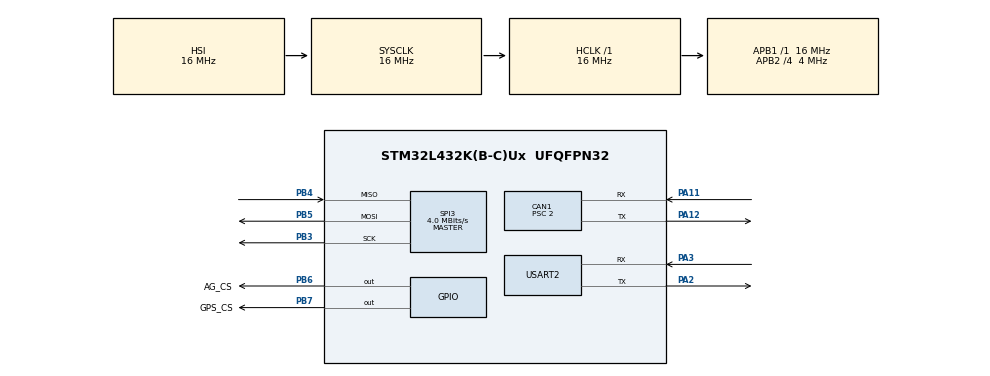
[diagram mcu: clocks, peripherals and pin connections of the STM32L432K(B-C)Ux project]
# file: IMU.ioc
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CAN1.BS1=CAN_BS1_13TQ
CAN1.BS2=CAN_BS2_2TQ
CAN1.CalculateBaudRate=500000
CAN1.CalculateTimeBit=2000
CAN1.CalculateTimeQuantum=125.0
CAN1.Prescaler=2
CAN1.SJW=CAN_SJW_1TQ
Mcu.Family=STM32L4
Mcu.Name=STM32L432K(B-C)Ux
Mcu.Package=UFQFPN32
NVIC.PriorityGroup=NVIC_PRIORITYGROUP_4
NVIC.SPI3_IRQn=true\:0\:0\:false\:false\:true\:true\:true\:true
PA11.GPIO_PuPd=GPIO_PULLUP
PA11.Mode=CAN_Activate
PA11.Signal=CAN1_RX
PA12.Mode=CAN_Activate
PA12.Signal=CAN1_TX
PA2.Mode=Asynchronous
PA2.Signal=USART2_TX
PA3.Mode=Asynchronous
PA3.Signal=USART2_RX
PB3\ (JTDO-TRACESWO).Mode=Full_Duplex_Master
PB3\ (JTDO-TRACESWO).Signal=SPI3_SCK
PB4\ (NJTRST).Mode=Full_Duplex_Master
PB4\ (NJTRST).Signal=SPI3_MISO
PB5.Mode=Full_Duplex_Master
PB5.Signal=SPI3_MOSI
PB6.GPIO_Label=AG_CS
PB6.GPIO_PuPd=GPIO_PULLUP
PB6.GPIO_Speed=GPIO_SPEED_FREQ_VERY_HIGH
PB6.PinState=GPIO_PIN_SET
PB6.Signal=GPIO_Output
PB7.GPIO_Label=GPS_CS
PB7.PinState=GPIO_PIN_SET
PB7.Signal=GPIO_Output
ProjectManager.HeapSize=0x200
ProjectManager.StackSize=0x400
ProjectManager.TargetToolchain=STM32CubeIDE
RCC.AHBFreq_Value=16000000
RCC.APB1Freq_Value=16000000
RCC.APB1TimFreq_Value=16000000
RCC.APB2CLKDivider=RCC_HCLK_DIV4
RCC.APB2Freq_Value=4000000
RCC.APB2TimFreq_Value=8000000
RCC.CortexFreq_Value=16000000
RCC.HCLKFreq_Value=16000000
RCC.HSE_VALUE=8000000
RCC.HSI48_VALUE=48000000
RCC.HSI_VALUE=16000000
RCC.LSE_VALUE=32768
RCC.MSI_VALUE=4000000
RCC.SYSCLKFreq_VALUE=16000000
RCC.SYSCLKSource=RCC_SYSCLKSOURCE_HSI
RCC.VCOOutputFreq_Value=32000000
SPI3.BaudRatePrescaler=SPI_BAUDRATEPRESCALER_4
SPI3.CLKPhase=SPI_PHASE_2EDGE
SPI3.CLKPolarity=SPI_POLARITY_HIGH
SPI3.CalculateBaudRate=4.0 MBits/s
SPI3.DataSize=SPI_DATASIZE_8BIT
SPI3.Direction=SPI_DIRECTION_2LINES
SPI3.Mode=SPI_MODE_MASTER
SPI3.VirtualType=VM_MASTER
USART2.VirtualMode-Asynchronous=VM_ASYNC
board=custom

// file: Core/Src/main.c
/* USER CODE BEGIN Header */
/**
  ******************************************************************************
  * @file           : main.c
  * @brief          : Main program body
  ******************************************************************************
  * @attention
  *
  * Copyright (c) 2025 STMicroelectronics.
  * All rights reserved.
  *
  * This software is licensed under terms that can be found in the LICENSE file
  * in the root directory of this software component.
  * If no LICENSE file comes with this software, it is provided AS-IS.
  *
  ******************************************************************************
  */
/* USER CODE END Header */
#include "main.h"
#include "can.h"
#include "spi.h"
#include "usart.h"
#include "gpio.h"

/* USER CODE BEGIN Includes */
#include "lsm.h"
#include "calibration.h"
/* USER CODE END Includes */

/* USER CODE BEGIN PD */
#define AG_CS_PORT GPIOB
#define AG_CS_PIN GPIO_PIN_6
/* USER CODE END PD */

/* USER CODE BEGIN PV */

bool status_1;
bool status_2;
bool status_3;
bool status_4;
LSM IMU;
CALIBRATION_CONSTANTS FACTORS;

uint32_t mailbox;
HAL_StatusTypeDef accel_tx_status;
HAL_StatusTypeDef gyro_tx_status;

/* USER CODE END PV */

void SystemClock_Config(void);
/* USER CODE BEGIN PFP */
bool isAccelCalibrationPresent();
bool isGyroCalibrationPresent();
void computeCorrectedAccel(LSM* imu, CALIBRATION_CONSTANTS* factors);
void computeCorrectedGyro(LSM* imu, CALIBRATION_CONSTANTS* factors);
void formAccelDF(LSM* imu);
void formGyroDF(LSM* imu);
/* USER CODE END PFP */

/* USER CODE BEGIN 0 */
bool isAccelCalibrationPresent() {
    uint32_t accel_flag = *(volatile uint32_t *)ACCEL_CALIBRATION_FLAG_ADDR;
    return (accel_flag == ACCEL_MAGIC_FLAG);
}

bool isGyroCalibrationPresent() {
    uint32_t gyro_flag = *(volatile uint32_t *)GYRO_CALIBRATION_FLAG_ADDR;
    return (gyro_flag == GYRO_MAGIC_FLAG);
}

void computeCorrectedAccel(LSM* imu, CALIBRATION_CONSTANTS* factors) {
	imu->correctedAccel[0] = (imu->rawAccel[0] - factors->accelOffsets[0])/factors->accelSlopes[0];
	imu->correctedAccel[1] = (imu->rawAccel[1] - factors->accelOffsets[1])/factors->accelSlopes[1];
	imu->correctedAccel[2] = (imu->rawAccel[2] - factors->accelOffsets[2])/factors->accelSlopes[2];
}

void computeCorrectedGyro(LSM* imu, CALIBRATION_CONSTANTS* factors) {
	imu->correctedGyro[0] = (imu->rawGyro[0] - factors->gyroOffsets[0]) * factors->gyroSlopes[0];
	imu->correctedGyro[1] = (imu->rawGyro[1] - factors->gyroOffsets[1]) * factors->gyroSlopes[1];
	imu->correctedGyro[2] = (imu->rawGyro[2] - factors->gyroOffsets[2]) * factors->gyroSlopes[2];
}

void formAccelDF(LSM* imu) {
	// GET 2 DECIMAL PLACES OF PRECISION
	imu->accel_df.data.accel_x = (int16_t)(imu->correctedAccel[0]*100);
	imu->accel_df.data.accel_y = (int16_t)(imu->correctedAccel[1]*100);
	imu->accel_df.data.accel_z = (int16_t)(imu->correctedAccel[2]*100);
}

void formGyroDF(LSM* imu) {
	imu->gyro_df.data.roll = (int16_t)(imu->correctedGyro[0]*100);
	imu->gyro_df.data.pitch = (int16_t)(imu->correctedGyro[1]*100);
	imu->gyro_df.data.yaw = (int16_t)(imu->correctedGyro[2]*100);

}

/* USER CODE END 0 */

int main(void)
{

  /* MCU Configuration--------------------------------------------------------*/

  /* Reset of all peripherals, Initializes the Flash interface and the Systick. */
  HAL_Init();

  /* Configure the system clock */
  SystemClock_Config();

  /* Initialize all configured peripherals */
  MX_GPIO_Init();
  MX_SPI3_Init();
  MX_USART2_UART_Init();
  MX_CAN1_Init();
  /* USER CODE BEGIN 2 */

  HAL_CAN_Start(&hcan1);

  initLSM(&IMU, &hspi3, AG_CS_PORT, AG_CS_PIN);
  status_1 = Enable_XL_G(&IMU);
  status_2 = IdCheck(&IMU);

  status_3 = isAccelCalibrationPresent();
  if (!status_3) {
	  accelCalibrationLoop(100, &IMU, &FACTORS);
	  status_3 = 1;
  }
  loadCalibrationFromFlash(&FACTORS);

//  status_4 = isGyroCalibrationPresent();
//
//  if (status_3 && status_4) {
//	  loadCalibrationFromFlash(&FACTORS);
//  } else if (status_3 && !status_4) {
//	  gyroCalibrationLoop(100, &IMU, &FACTORS);
//	  status_4 = 1;
//  } else if (!status_3 && status_4) {
//	  accelCalibrationLoop(100, &IMU, &FACTORS);
//	  status_3 = 1;
//  } else {
//	  accelCalibrationLoop(100, &IMU, &FACTORS);
//	  gyroCalibrationLoop(100, &IMU, &FACTORS);
//	  status_3 = 1;
//	  status_4 = 1;
//  }

  /* USER CODE END 2 */

  /* Infinite loop */
  /* USER CODE BEGIN WHILE */
  while (1)
  {
	  readXL(&IMU);
//	  readGyro(&IMU);
	  computeRawAccel(&IMU);
//	  computeRawGyro(&IMU);
	  computeCorrectedAccel(&IMU, &FACTORS);
// 	  computeCorrectedGyro(&IMU, &FACTORS);

	  formAccelDF(&IMU);
	  accel_tx_status = HAL_CAN_AddTxMessage(&hcan1, &(IMU.ACCEL_CTXHeader),
			  IMU.accel_df.array, &mailbox);
//
//	  formGyroDF(&IMU);
//	  gyro_tx_status = HAL_CAN_AddTxMessage(&hcan1, &(IMU.GYRO_CTXHeader),
//			  IMU.gyro_df.array, &mailbox);

	  HAL_Delay(250);

    /* USER CODE END WHILE */

  }
}

void SystemClock_Config(void)
{
  RCC_OscInitTypeDef RCC_OscInitStruct = {0};
  RCC_ClkInitTypeDef RCC_ClkInitStruct = {0};

  /** Configure the main internal regulator output voltage
  */
  if (HAL_PWREx_ControlVoltageScaling(PWR_REGULATOR_VOLTAGE_SCALE1) != HAL_OK)
  {
    Error_Handler();
  }

  /** Initializes the RCC Oscillators according to the specified parameters
  * in the RCC_OscInitTypeDef structure.
  */
  RCC_OscInitStruct.OscillatorType = RCC_OSCILLATORTYPE_HSI;
  RCC_OscInitStruct.HSIState = RCC_HSI_ON;
  RCC_OscInitStruct.HSICalibrationValue = RCC_HSICALIBRATION_DEFAULT;
  RCC_OscInitStruct.PLL.PLLState = RCC_PLL_NONE;
  if (HAL_RCC_OscConfig(&RCC_OscInitStruct) != HAL_OK)
  {
    Error_Handler();
  }

  /** Initializes the CPU, AHB and APB buses clocks
  */
  RCC_ClkInitStruct.ClockType = RCC_CLOCKTYPE_HCLK|RCC_CLOCKTYPE_SYSCLK
                              |RCC_CLOCKTYPE_PCLK1|RCC_CLOCKTYPE_PCLK2;
  RCC_ClkInitStruct.SYSCLKSource = RCC_SYSCLKSOURCE_HSI;
  RCC_ClkInitStruct.AHBCLKDivider = RCC_SYSCLK_DIV1;
  RCC_ClkInitStruct.APB1CLKDivider = RCC_HCLK_DIV1;
  RCC_ClkInitStruct.APB2CLKDivider = RCC_HCLK_DIV4;

  if (HAL_RCC_ClockConfig(&RCC_ClkInitStruct, FLASH_LATENCY_0) != HAL_OK)
  {
    Error_Handler();
  }
}

void Error_Handler(void)
{
  __disable_irq();
  while (1)
  {
  }
}
